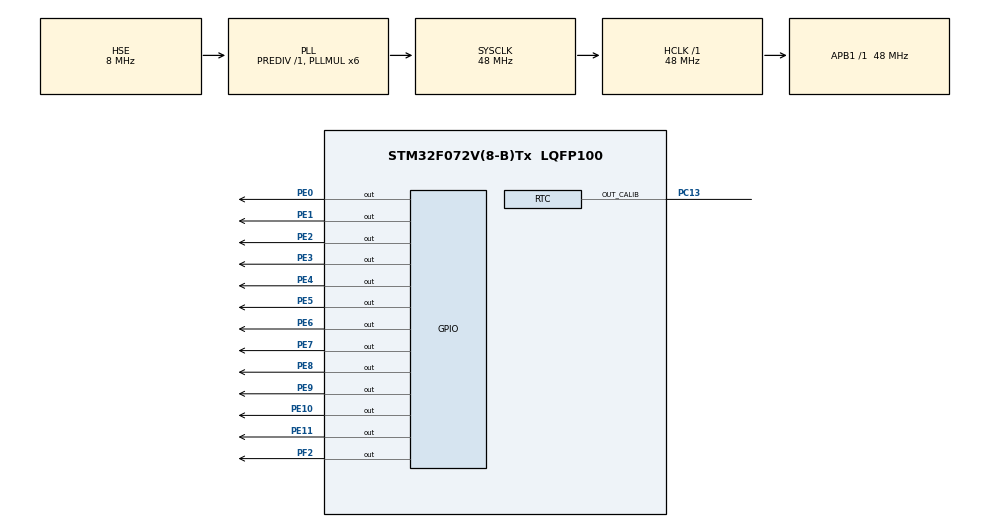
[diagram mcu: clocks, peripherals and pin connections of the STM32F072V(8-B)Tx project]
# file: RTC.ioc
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Mcu.Family=STM32F0
Mcu.Name=STM32F072V(8-B)Tx
Mcu.Package=LQFP100
PC13.Mode=Calibration_1Hz
PC13.Signal=RTC_OUT_CALIB
PC14-OSC32_IN.Mode=LSE-External-Oscillator
PC14-OSC32_IN.Signal=RCC_OSC32_IN
PC15-OSC32_OUT.Mode=LSE-External-Oscillator
PC15-OSC32_OUT.Signal=RCC_OSC32_OUT
PE0.Signal=GPIO_Output
PE1.Signal=GPIO_Output
PE10.Signal=GPIO_Output
PE11.Signal=GPIO_Output
PE2.Signal=GPIO_Output
PE3.Signal=GPIO_Output
PE4.Signal=GPIO_Output
PE5.Signal=GPIO_Output
PE6.Signal=GPIO_Output
PE7.Signal=GPIO_Output
PE8.Signal=GPIO_Output
PE9.Signal=GPIO_Output
PF0-OSC_IN.Mode=HSE-External-Oscillator
PF0-OSC_IN.Signal=RCC_OSC_IN
PF1-OSC_OUT.Mode=HSE-External-Oscillator
PF1-OSC_OUT.Signal=RCC_OSC_OUT
PF2.Signal=GPIO_Output
ProjectManager.HeapSize=0x200
ProjectManager.StackSize=0x400
ProjectManager.TargetToolchain=MDK-ARM V5
RCC.AHBFreq_Value=48000000
RCC.APB1Freq_Value=48000000
RCC.APB1TimFreq_Value=48000000
RCC.HCLKFreq_Value=48000000
RCC.HSIState=RCC_HSI_ON
RCC.PLLMUL=RCC_PLL_MUL6
RCC.PLLSourceVirtual=RCC_PLLSOURCE_HSE
RCC.RTCClockSelection=RCC_RTCCLKSOURCE_LSE
RCC.SYSCLKFreq_VALUE=48000000
RCC.SYSCLKSource=RCC_SYSCLKSOURCE_PLLCLK
RTC.Hours=12
RTC.Year=18
board=RTC

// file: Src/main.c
/**
  ******************************************************************************
  * File Name          : main.c
  * Description        : Main program body
  ******************************************************************************
  *
  * COPYRIGHT(c) 2018 STMicroelectronics
  *
  * Redistribution and use in source and binary forms, with or without modification,
  * are permitted provided that the following conditions are met:
  *   1. Redistributions of source code must retain the above copyright notice,
  *      this list of conditions and the following disclaimer.
  *   2. Redistributions in binary form must reproduce the above copyright notice,
  *      this list of conditions and the following disclaimer in the documentation
  *      and/or other materials provided with the distribution.
  *   3. Neither the name of STMicroelectronics nor the names of its contributors
  *      may be used to endorse or promote products derived from this software
  *      without specific prior written permission.
  *
  * THIS SOFTWARE IS PROVIDED BY THE COPYRIGHT HOLDERS AND CONTRIBUTORS "AS IS"
  * AND ANY EXPRESS OR IMPLIED WARRANTIES, INCLUDING, BUT NOT LIMITED TO, THE
  * IMPLIED WARRANTIES OF MERCHANTABILITY AND FITNESS FOR A PARTICULAR PURPOSE ARE
  * DISCLAIMED. IN NO EVENT SHALL THE COPYRIGHT HOLDER OR CONTRIBUTORS BE LIABLE
  * FOR ANY DIRECT, INDIRECT, INCIDENTAL, SPECIAL, EXEMPLARY, OR CONSEQUENTIAL
  * DAMAGES (INCLUDING, BUT NOT LIMITED TO, PROCUREMENT OF SUBSTITUTE GOODS OR
  * SERVICES; LOSS OF USE, DATA, OR PROFITS; OR BUSINESS INTERRUPTION) HOWEVER
  * CAUSED AND ON ANY THEORY OF LIABILITY, WHETHER IN CONTRACT, STRICT LIABILITY,
  * OR TORT (INCLUDING NEGLIGENCE OR OTHERWISE) ARISING IN ANY WAY OUT OF THE USE
  * OF THIS SOFTWARE, EVEN IF ADVISED OF THE POSSIBILITY OF SUCH DAMAGE.
  *
  ******************************************************************************
  */
#include "stm32f0xx_hal.h"

RTC_HandleTypeDef hrtc;

/* USER CODE BEGIN PV */
/* Private variables ---------------------------------------------------------*/
uint32_t	timegoing1;       /* 定义日历时间变量1 */
uint32_t	timegoing2;       /* 定义日历时间变量2 */
uint32_t	timegoing3;       /* 定义日历时间变量3 */

/* USER CODE END PV */

void SystemClock_Config(void);
void Error_Handler(void);
static void MX_GPIO_Init(void);
static void MX_RTC_Init(void);

/* USER CODE BEGIN PFP */
/* Private function prototypes -----------------------------------------------*/
void RTC_SEG_Display(uint32_t num); /*  数码管显示函数     */

/* USER CODE END PFP */

/* USER CODE BEGIN 0 */
const uint8_t table0[]= {0x3f,0x06,0x5b,0x4f,0x66,0x6d,0x7d,0x07,0x7f,0x6f};  /* 共阴（无点）*/
const uint8_t table1[]= {0xbf,0x86,0xdb,0xcf,0xe6,0xed,0xfd,0x87,0xff,0xef};  /* 共阴（有点）*/

/* USER CODE END 0 */

int main(void)
{

  /* MCU Configuration----------------------------------------------------------*/

  /* Reset of all peripherals, Initializes the Flash interface and the Systick. */
  HAL_Init();

  /* Configure the system clock */
  SystemClock_Config();

  /* Initialize all configured peripherals */
  MX_GPIO_Init();
  MX_RTC_Init();

  /* Infinite loop */
  /* USER CODE BEGIN WHILE */
  while (1)
  {
		/* 读取亚秒寄存器 */
		timegoing1 =  RTC->SSR;
		/* 读取时间寄存器 */
		timegoing2 =  RTC->TR;
		/* 读取日期寄存器 */
		timegoing3 =	RTC->DR;
		/* 数码管显示时间值 */
		RTC_SEG_Display(timegoing2);

  /* USER CODE END WHILE */

  }

}

/** System Clock Configuration
*/
void SystemClock_Config(void)
{

  RCC_OscInitTypeDef RCC_OscInitStruct;
  RCC_ClkInitTypeDef RCC_ClkInitStruct;
  RCC_PeriphCLKInitTypeDef PeriphClkInit;

  RCC_OscInitStruct.OscillatorType = RCC_OSCILLATORTYPE_HSE|RCC_OSCILLATORTYPE_LSE;
  RCC_OscInitStruct.HSEState = RCC_HSE_ON;
  RCC_OscInitStruct.LSEState = RCC_LSE_ON;
  RCC_OscInitStruct.PLL.PLLState = RCC_PLL_ON;
  RCC_OscInitStruct.PLL.PLLSource = RCC_PLLSOURCE_HSE;
  RCC_OscInitStruct.PLL.PLLMUL = RCC_PLL_MUL6;
  RCC_OscInitStruct.PLL.PREDIV = RCC_PREDIV_DIV1;
  if (HAL_RCC_OscConfig(&RCC_OscInitStruct) != HAL_OK)
  {
    Error_Handler();
  }

  RCC_ClkInitStruct.ClockType = RCC_CLOCKTYPE_HCLK|RCC_CLOCKTYPE_SYSCLK
                              |RCC_CLOCKTYPE_PCLK1;
  RCC_ClkInitStruct.SYSCLKSource = RCC_SYSCLKSOURCE_PLLCLK;
  RCC_ClkInitStruct.AHBCLKDivider = RCC_SYSCLK_DIV1;
  RCC_ClkInitStruct.APB1CLKDivider = RCC_HCLK_DIV1;
  if (HAL_RCC_ClockConfig(&RCC_ClkInitStruct, FLASH_LATENCY_1) != HAL_OK)
  {
    Error_Handler();
  }

  PeriphClkInit.PeriphClockSelection = RCC_PERIPHCLK_RTC;
  PeriphClkInit.RTCClockSelection = RCC_RTCCLKSOURCE_LSE;
  if (HAL_RCCEx_PeriphCLKConfig(&PeriphClkInit) != HAL_OK)
  {
    Error_Handler();
  }

  HAL_SYSTICK_Config(HAL_RCC_GetHCLKFreq()/1000);

  HAL_SYSTICK_CLKSourceConfig(SYSTICK_CLKSOURCE_HCLK);

  /* SysTick_IRQn interrupt configuration */
  HAL_NVIC_SetPriority(SysTick_IRQn, 0, 0);
}

/* RTC init function */
static void MX_RTC_Init(void)
{

  RTC_TimeTypeDef sTime;
  RTC_DateTypeDef sDate;

    /**Initialize RTC and set the Time and Date
    */
  hrtc.Instance = RTC;
  hrtc.Init.HourFormat = RTC_HOURFORMAT_24;
  hrtc.Init.AsynchPrediv = 127;
  hrtc.Init.SynchPrediv = 255;
  hrtc.Init.OutPut = RTC_OUTPUT_DISABLE;
  hrtc.Init.OutPutPolarity = RTC_OUTPUT_POLARITY_HIGH;
  hrtc.Init.OutPutType = RTC_OUTPUT_TYPE_OPENDRAIN;
  if (HAL_RTC_Init(&hrtc) != HAL_OK)
  {
    Error_Handler();
  }

  sTime.Hours = 0x12;
  sTime.Minutes = 0x0;
  sTime.Seconds = 0x0;
  sTime.DayLightSaving = RTC_DAYLIGHTSAVING_NONE;
  sTime.StoreOperation = RTC_STOREOPERATION_RESET;
  if (HAL_RTC_SetTime(&hrtc, &sTime, RTC_FORMAT_BCD) != HAL_OK)
  {
    Error_Handler();
  }

  sDate.WeekDay = RTC_WEEKDAY_MONDAY;
  sDate.Month = RTC_MONTH_JANUARY;
  sDate.Date = 0x1;
  sDate.Year = 0x18;

  if (HAL_RTC_SetDate(&hrtc, &sDate, RTC_FORMAT_BCD) != HAL_OK)
  {
    Error_Handler();
  }

    /**Enable Calibration
    */
  if (HAL_RTCEx_SetCalibrationOutPut(&hrtc, RTC_CALIBOUTPUT_1HZ) != HAL_OK)
  {
    Error_Handler();
  }

}

/** Configure pins as
        * Analog
        * Input
        * Output
        * EVENT_OUT
        * EXTI
*/
static void MX_GPIO_Init(void)
{

  GPIO_InitTypeDef GPIO_InitStruct;

  /* GPIO Ports Clock Enable */
  __HAL_RCC_GPIOE_CLK_ENABLE();
  __HAL_RCC_GPIOC_CLK_ENABLE();
  __HAL_RCC_GPIOF_CLK_ENABLE();

  /*Configure GPIO pin Output Level */
  HAL_GPIO_WritePin(GPIOE, GPIO_PIN_2|GPIO_PIN_3|GPIO_PIN_4|GPIO_PIN_5
                          |GPIO_PIN_6|GPIO_PIN_7|GPIO_PIN_8|GPIO_PIN_9
                          |GPIO_PIN_10|GPIO_PIN_11|GPIO_PIN_0|GPIO_PIN_1, GPIO_PIN_RESET);

  /*Configure GPIO pin Output Level */
  HAL_GPIO_WritePin(GPIOF, GPIO_PIN_2, GPIO_PIN_RESET);

  /*Configure GPIO pins : PE2 PE3 PE4 PE5
                           PE6 PE7 PE8 PE9
                           PE10 PE11 PE0 PE1 */
  GPIO_InitStruct.Pin = GPIO_PIN_2|GPIO_PIN_3|GPIO_PIN_4|GPIO_PIN_5
                          |GPIO_PIN_6|GPIO_PIN_7|GPIO_PIN_8|GPIO_PIN_9
                          |GPIO_PIN_10|GPIO_PIN_11|GPIO_PIN_0|GPIO_PIN_1;
  GPIO_InitStruct.Mode = GPIO_MODE_OUTPUT_PP;
  GPIO_InitStruct.Pull = GPIO_NOPULL;
  GPIO_InitStruct.Speed = GPIO_SPEED_FREQ_LOW;
  HAL_GPIO_Init(GPIOE, &GPIO_InitStruct);

  /*Configure GPIO pin : PF2 */
  GPIO_InitStruct.Pin = GPIO_PIN_2;
  GPIO_InitStruct.Mode = GPIO_MODE_OUTPUT_PP;
  GPIO_InitStruct.Pull = GPIO_NOPULL;
  GPIO_InitStruct.Speed = GPIO_SPEED_FREQ_LOW;
  HAL_GPIO_Init(GPIOF, &GPIO_InitStruct);

}

/* USER CODE BEGIN 4 */

/*  数码管显示函数  */
void RTC_SEG_Display(uint32_t num)
{
	/* 取出四位数显示值 */
  uint8_t GeWei,ShiWei,BaiWei,QianWei;

	GeWei   = num>>8&0x0000000F;     /* 显示分钟的个位 */
	ShiWei  = num>>12&0x00000007;    /* 显示分钟的十位 */
	BaiWei  = num>>16&0x0000000F;    /* 显示小时的个位 */
	QianWei = num>>20&0x00000003;    /* 显示小时的十位 */

	/* 使能数码管位驱动  */
	HAL_GPIO_WritePin(GPIOF,GPIO_PIN_2,GPIO_PIN_RESET);

	/* 显示个位 */
	GPIOE->ODR |= (uint16_t)(table0[GeWei]);
	/* 使能个位 */
	HAL_GPIO_WritePin(GPIOE,GPIO_PIN_9|GPIO_PIN_10|GPIO_PIN_11,GPIO_PIN_SET);
	HAL_GPIO_WritePin(GPIOE,GPIO_PIN_8,GPIO_PIN_RESET);
	HAL_Delay(3);
	/* 消隐 */
  GPIOE->ODR &= 0xFF00;
	GPIOE->ODR |= 0x0F00;
	HAL_Delay(1);

	/* 显示十位 */
	GPIOE->ODR |= (uint16_t)(table0[ShiWei]);
	/* 使能十位 */
	HAL_GPIO_WritePin(GPIOE,GPIO_PIN_8|GPIO_PIN_10|GPIO_PIN_11,GPIO_PIN_SET);
	HAL_GPIO_WritePin(GPIOE,GPIO_PIN_9,GPIO_PIN_RESET);
	HAL_Delay(3);
	/* 消隐 */
  GPIOE->ODR &= 0xFF00;
	GPIOE->ODR |= 0x0F00;
	HAL_Delay(1);

	/* 点闪烁 */
	if(timegoing1<=128)
	{
		/* 显示百位 */
		GPIOE->ODR |= (uint16_t)(table1[BaiWei]);
		/* 使能百位 */
		HAL_GPIO_WritePin(GPIOE,GPIO_PIN_8|GPIO_PIN_9|GPIO_PIN_11,GPIO_PIN_SET);
		HAL_GPIO_WritePin(GPIOE,GPIO_PIN_10,GPIO_PIN_RESET);
		HAL_Delay(3);
		/* 消隐 */
		GPIOE->ODR &= 0xFF00;
		GPIOE->ODR |= 0x0F00;
		HAL_Delay(1);
	}
	else
	{
		/* 显示百位 */
		GPIOE->ODR |= (uint16_t)(table0[BaiWei]);
		/* 使能百位 */
		HAL_GPIO_WritePin(GPIOE,GPIO_PIN_8|GPIO_PIN_9|GPIO_PIN_11,GPIO_PIN_SET);
		HAL_GPIO_WritePin(GPIOE,GPIO_PIN_10,GPIO_PIN_RESET);
		HAL_Delay(3);
		/* 消隐 */
		GPIOE->ODR &= 0xFF00;
		GPIOE->ODR |= 0x0F00;
		HAL_Delay(1);
	}

	/* 显示千位 */
	GPIOE->ODR |= (uint16_t)(table0[QianWei]);
	/* 使能千位 */
	HAL_GPIO_WritePin(GPIOE,GPIO_PIN_8|GPIO_PIN_9|GPIO_PIN_10,GPIO_PIN_SET);
	HAL_GPIO_WritePin(GPIOE,GPIO_PIN_11,GPIO_PIN_RESET);
	HAL_Delay(3);
	/* 消隐 */
  GPIOE->ODR &= 0xFF00;
	GPIOE->ODR |= 0x0F00;
	HAL_Delay(1);
}

/* USER CODE END 4 */

void Error_Handler(void)
{
  while(1)
  {
  }
}

/************************ (C) COPYRIGHT STMicroelectronics *****END OF FILE****/
